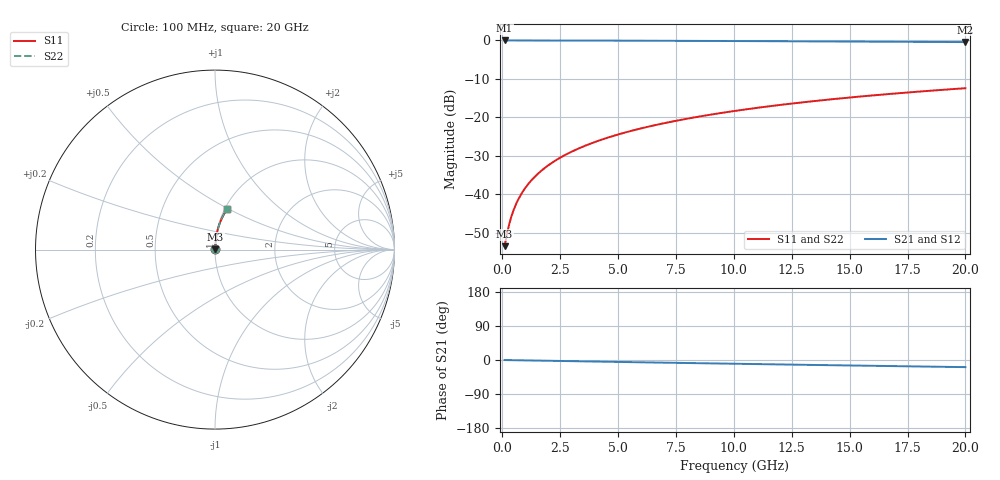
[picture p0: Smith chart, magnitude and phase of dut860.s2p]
! Touchstone file exported from HFSS 2024.1.0
!  File:  C:/UserFiles/LocalFiles/RDL_TSV_Batchsim/temp_RDL_top_860_1779856069.aedt
!  Generated:  12:29:59 PM May 27, 2026
!  Design:  RDL_top
!  Project:  temp_RDL_top_860_1779856069
!  Setup:  Setup1
!  Solution:  Sweep
! Variables:
!  dtsv = 10.80580581um
!  hbump = 3um
!  htsv = 77.28um
!  ldown = 100um
!  lrdl = 209.34um
!  p = 40
!  p1 = 47.56um
!  rhole = 1um
!  t = 450um
!  tdown = 3.915915916um
!  trdl = 3.58um
!  wdown = 15.38538539um
!  wrdl = 13.4um
# GHz S MA R 50.000000
! Terminal data exported
! Port[1] = Box2_T1
! Port[2] = Box2_T2
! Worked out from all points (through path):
!   200 points, 100 MHz to 20 GHz, reference 50 ohm
!   highest |S21| = -0.01 dB at 100 MHz (marker M1); lowest = -0.4 dB at 20 GHz (marker M2)
!   group delay of S21, straight-line fit = 2.61 ps
!   lowest |S11| = -53.5 dB at 100 MHz (marker M3), VSWR 1.00, Z = 50.2 + j0.124 ohm
!   |S11| at or under -10 dB: start of sweep to end of sweep
!   |S22| runs from -53.5 to -12.4 dB; largest |S21 - S12| = 3.2e-15
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0.1  0.002102 36.0  0.9983 -0.1  0.9983 -0.1  0.002102 36.0
! Gamma 0 0 0 0
! Port Impedance 50 0 50 0
0.2  0.003008 54.9  0.9983 -0.2  0.9983 -0.2  0.003008 54.9
0.3  0.004076 64.2  0.9982 -0.3  0.9982 -0.3  0.004076 64.2
0.4  0.005196 69.5  0.9982 -0.4  0.9982 -0.4  0.005196 69.5
0.5  0.006334 72.9  0.9981 -0.5  0.9981 -0.5  0.006334 72.9
0.6  0.007481 75.3  0.9981 -0.6  0.9981 -0.6  0.007481 75.3
0.8  0.00979 78.4  0.998 -0.8  0.998 -0.8  0.00979 78.4
1.1  0.01328 81.0  0.9978 -1.1  0.9978 -1.1  0.01328 81.0
1.5  0.01796 82.8  0.9975 -1.6  0.9975 -1.6  0.01796 82.8
1.8  0.02149 83.7  0.9973 -1.9  0.9973 -1.9  0.02149 83.6
2.1  0.02504 84.2  0.997 -2.2  0.997 -2.2  0.02504 84.2
2.7  0.03215 84.8  0.9964 -2.8  0.9964 -2.8  0.03214 84.8
3.5  0.04167 85.0  0.9953 -3.6  0.9953 -3.6  0.04167 85.0
4.2  0.05004 85.0  0.9942 -4.3  0.9942 -4.3  0.05004 85.0
5  0.05966 84.8  0.9928 -5.1  0.9928 -5.1  0.05965 84.8
5.9  0.07052 84.4  0.991 -6.0  0.991 -6.0  0.07052 84.4
6.8  0.08142 83.9  0.989 -6.9  0.989 -6.9  0.08142 83.9
8.3  0.09966 83.0  0.9855 -8.3  0.9855 -8.3  0.09966 83.0
10.1  0.1216 81.6  0.9808 -10.0  0.9808 -10.0  0.1216 81.6
13.4  0.1615 78.9  0.9715 -13.0  0.9715 -13.0  0.1615 78.9
16.7  0.2007 76.0  0.9614 -16.0  0.9614 -16.0  0.2007 76.0
20  0.2387 73.1  0.9505 -18.9  0.9505 -18.9  0.2387 73.1
